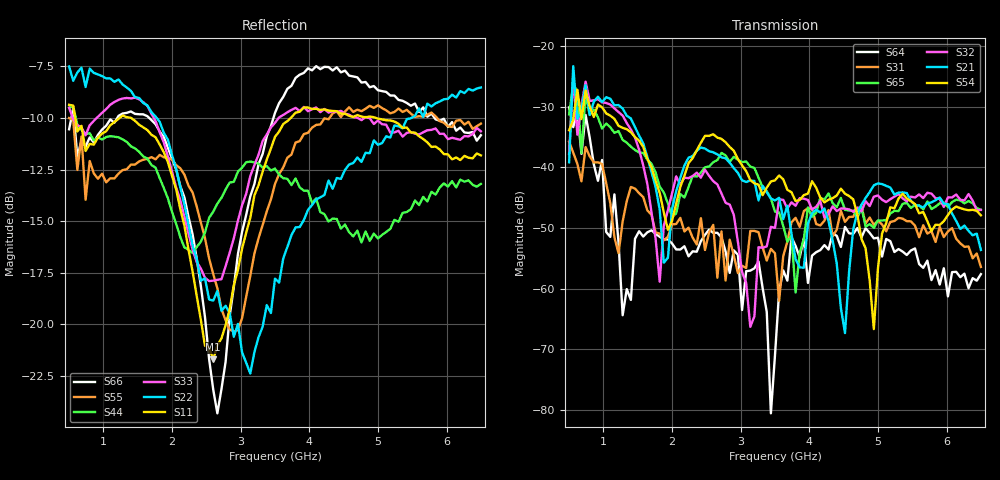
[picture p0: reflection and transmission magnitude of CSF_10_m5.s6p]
!Keysight Technologies,M9804A,MY58100912,A.14.10.03
!Date: Thursday, April 27, 2023 10:28:33
!Correction: S11(C  6-Port  )
!S12(C  6-Port  )
!S13(C  6-Port  )
!S14(C  6-Port  )
!S15(C  6-Port  )
!S16(C  6-Port  )
!S21(C  6-Port  )
!S22(C  6-Port  )
!S23(C  6-Port  )
!S24(C  6-Port  )
!S25(C  6-Port  )
!S26(C  6-Port  )
!S31(C  6-Port  )
!S32(C  6-Port  )
!S33(C  6-Port  )
!S34(C  6-Port  )
!S35(C  6-Port  )
!S36(C  6-Port  )
!S41(C  6-Port  )
!S42(C  6-Port  )
!S43(C  6-Port  )
!S44(C  6-Port  )
!S45(C  6-Port  )
!S46(C  6-Port  )
!S51(C  6-Port  )
!S52(C  6-Port  )
!S53(C  6-Port  )
!S54(C  6-Port  )
!S55(C  6-Port  )
!S56(C  6-Port  )
!S61(C  6-Port  )
!S62(C  6-Port  )
!S63(C  6-Port  )
!S64(C  6-Port  )
!S65(C  6-Port  )
!S66(C  6-Port  )
!S6P File: Measurement: :
# Hz S  RI  R 50
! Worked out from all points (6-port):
!   101 points, 500 MHz to 6.5 GHz, reference 50 ohm
!   strongest paths, dB at 500 MHz, 2 GHz, 3.5 GHz, 5 GHz, 6.5 GHz:
!     S54: -33.9, -48.8, -42.1, -56.7, -47.9
!     S21: -39.2, -46.8, -45.5, -42.6, -53.6
!     S32: -37.8, -44.3, -50.0, -44.6, -47.0
!     S65: -31.3, -48.2, -47.3, -48.8, -47.0
!     S31: -35.8, -49.4, -54.2, -48.8, -56.4
!     S64: -30.1, -52.6, -71.0, -51.6, -57.6
!   lowest |S11| = -21.7 dB at 2.6 GHz (marker M1), VSWR 1.18, Z = 42.7 + j2.1 ohm
!   |S11| at or under -10 dB: 588.6 MHz to 1.237 GHz (648.4 MHz wide, 71 % of centre); 1.403 GHz to 3.73 GHz (2.327 GHz wide, 90.7 % of centre); 4.97 GHz to end of sweep
